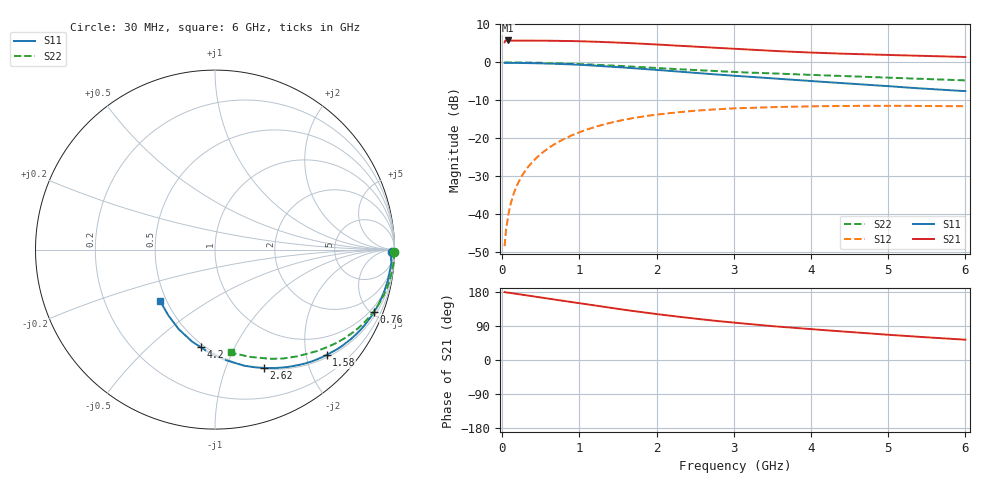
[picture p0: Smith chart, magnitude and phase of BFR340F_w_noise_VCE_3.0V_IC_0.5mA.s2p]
! Infineon Technologies  Discrete & RF Semiconductors
! BFR340F
! VCE =  3.0 V,  IC =  0.5 mA
! Common Emitter S-Parameters:  Nov 2015
# GHz  S  MA  R  50
!  f  S11  S21  S12  S22
! GHz  MAG  ANG  MAG  ANG  MAG  ANG  MAG  ANG
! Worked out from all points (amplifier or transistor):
!   206 points, 30 MHz to 6 GHz, reference 50 ohm
!   highest |S21| = 5.8 dB at 70 MHz (marker M1)
!   |S21| within 3 dB of that: start of sweep to 3.777 GHz
!   unconditionally stable (mu >= 1): nowhere
!   at 200 MHz: K = 0.03, MSG = 18.9 dB, |S12| = -32.0 dB
!   at 1.56 GHz: K = 0.29, MSG = 10.2 dB, |S12| = -15.2 dB
!   at 6 GHz: K = 0.92, MSG = 6.5 dB, |S12| = -11.6 dB
!   lowest NFmin = 1.12 dB at 1.9 GHz
!   S11 on the Smith chart (normalised r, x): 30 MHz: open; 760 MHz: 0.70, -5.23; 1.58 GHz: 0.55, -2.40; 2.62 GHz: 0.51, -1.36; 4.2 GHz: 0.48, -0.75; 6 GHz: 0.46, -0.32
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0.03  0.9861 -0.8  1.839 179.3  0.0038 87.8  0.9989 -0.7
0.04  0.985 -1.2  1.933 178.7  0.0051 89.2  0.9984 -0.8
0.05  0.9889 -1.6  1.928 178.0  0.0064 89.7  0.9989 -1.0
0.07  0.9848 -2.2  1.944 177.6  0.0088 88.9  0.9992 -1.5
0.1  0.9819 -2.7  1.925 177.1  0.0127 87.5  0.9988 -2.1
0.16  0.985 -4.6  1.936 175.2  0.0202 86.7  0.9976 -3.4
0.22  0.9821 -6.2  1.94 173.5  0.0277 85.4  0.9965 -4.7
0.3  0.98 -8.4  1.939 171.1  0.0377 83.9  0.9946 -6.3
0.5  0.9713 -14.1  1.934 165.1  0.0624 79.8  0.9866 -10.5
0.76  0.9525 -21.3  1.919 156.9  0.0934 74.5  0.9711 -15.9
1.04  0.9252 -29.0  1.893 148.4  0.1246 68.8  0.9478 -21.6
1.24  0.9013 -34.4  1.865 142.4  0.1451 64.9  0.9282 -25.6
1.58  0.855 -43.4  1.807 132.5  0.1755 58.5  0.8906 -31.8
2.02  0.794 -54.1  1.715 120.7  0.2062 51.3  0.8414 -39.1
2.4  0.7413 -62.9  1.636 111.5  0.2266 46.0  0.8019 -44.8
2.62  0.7123 -67.7  1.588 106.5  0.2356 43.3  0.7797 -47.9
3.1  0.6558 -77.6  1.49 96.8  0.2497 38.1  0.7408 -53.8
3.5  0.615 -85.3  1.419 89.3  0.2578 34.6  0.7151 -58.1
4.1  0.5591 -96.3  1.335 79.9  0.2646 31.1  0.6801 -63.3
4.2  0.55 -98.2  1.323 78.4  0.2653 30.6  0.6739 -64.2
5.1  0.478 -116.6  1.245 65.3  0.2684 26.8  0.6238 -72.7
6  0.419 -136.9  1.178 53.6  0.2642 25.9  0.5791 -81.4
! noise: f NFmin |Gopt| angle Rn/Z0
1.9  1.12  0.75  19  1
